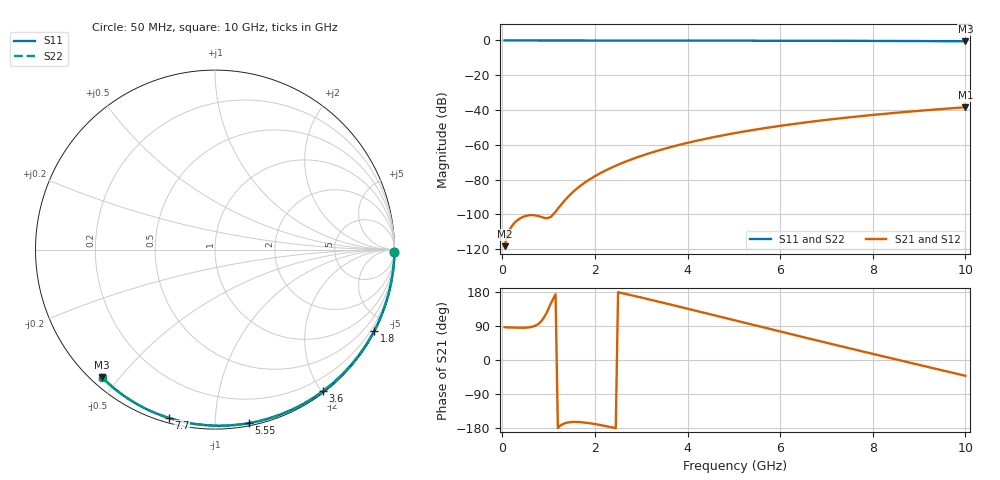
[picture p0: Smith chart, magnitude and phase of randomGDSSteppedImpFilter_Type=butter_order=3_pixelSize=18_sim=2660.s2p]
! freq	dB(S11)	phase(S11)	dB(S12)	phase(S12)
!  dB(S21)	phase(S21)	dB(S22)	phase(S22)
!S-par simulation data
#  GHz  S  DB  R 50
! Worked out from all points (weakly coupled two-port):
!   200 points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, 50 MHz to 10 GHz, reference 50 ohm
!   highest |S21| = -38.41 dB at 10 GHz (marker M1); lowest = -118.3 dB at 50 MHz (marker M2)
!   lowest |S11| = -0.4 dB at 10 GHz (marker M3), VSWR 39.07, Z = 1.54 - j22.4 ohm
!   |S11| at or under -10 dB: nowhere
!   |S22| runs from -0.4 to 0.0 dB; largest |S21 - S12| = 0
!   S11 on the Smith chart (normalised r, x): 50 MHz: open; 1.8 GHz: 0.04, -4.16; 3.6 GHz: 0.02, -2.01; 5.55 GHz: 0.02, -1.22; 7.7 GHz: 0.02, -0.76; 10 GHz: 0.03, -0.45
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0.05  -0.00 -0.8  -118.28 86.8  -118.28 86.8  -0.00 -0.8
0.9  -0.02 -13.6  -101.96 112.5  -101.96 112.5  -0.02 -13.6
1.75  -0.03 -26.3  -82.33 -164.7  -82.33 -164.7  -0.03 -26.2
1.8  -0.03 -27.0  -81.39 -165.4  -81.39 -165.4  -0.03 -26.9
1.85  -0.04 -27.7  -80.50 -166.2  -80.50 -166.2  -0.04 -27.6
1.9  -0.04 -28.5  -79.65 -167.1  -79.65 -167.1  -0.04 -28.4
2.05  -0.04 -30.7  -77.28 -170.1  -77.28 -170.1  -0.04 -30.6
2.25  -0.04 -33.6  -74.48 -174.8  -74.48 -174.8  -0.04 -33.5
2.45  -0.05 -36.5  -72.01 -179.9  -72.01 -179.9  -0.05 -36.3
2.65  -0.05 -39.4  -69.79 174.7  -69.79 174.7  -0.05 -39.2
3  -0.06 -44.4  -66.39 164.9  -66.39 164.9  -0.06 -44.2
3.4  -0.07 -50.0  -63.05 153.2  -63.05 153.2  -0.07 -49.8
3.6  -0.07 -52.8  -61.56 147.3  -61.56 147.3  -0.07 -52.6
4.3  -0.09 -62.4  -57.05 126.3  -57.05 126.3  -0.09 -62.2
5.05  -0.11 -72.4  -53.13 103.8  -53.13 103.8  -0.11 -72.1
5.55  -0.13 -78.8  -50.90 88.7  -50.90 88.7  -0.13 -78.6
6.1  -0.15 -85.8  -48.72 72.3  -48.72 72.3  -0.15 -85.5
6.7  -0.18 -93.3  -46.62 54.4  -46.62 54.4  -0.18 -92.9
7.7  -0.24 -105.3  -43.62 24.9  -43.62 24.9  -0.24 -104.9
8.35  -0.29 -112.9  -41.94 6.0  -41.94 6.0  -0.29 -112.5
9.15  -0.36 -122.1  -40.11 -17.2  -40.11 -17.2  -0.36 -121.6
10  -0.44 -131.7  -38.41 -41.7  -38.41 -41.7  -0.44 -131.2
